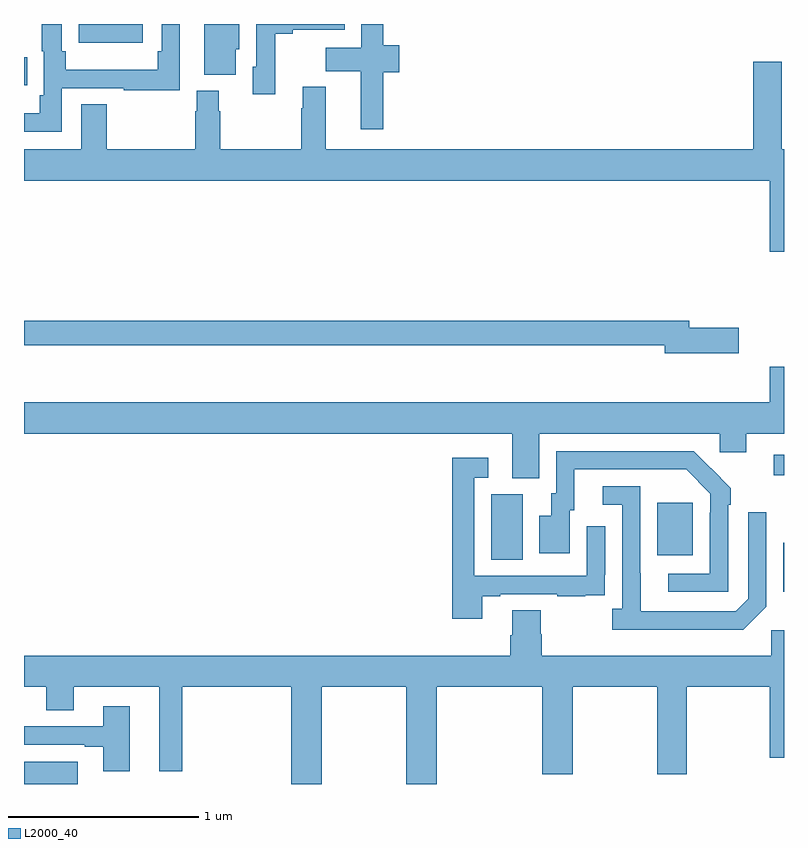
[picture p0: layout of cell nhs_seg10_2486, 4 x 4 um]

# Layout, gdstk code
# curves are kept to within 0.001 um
import gdstk
lib = gdstk.Library(unit=1e-6, precision=1e-09)
def R(c, l, rs):  # rectangles x0, y0, x1, y1
    for r in rs: c.add(gdstk.rectangle(r[:2], r[2:], *l))
def P(c, l, *ps):  # polygons
    for p in ps: c.add(gdstk.Polygon(p, *l))
L2000_40 = (2000, 40)

nhs_seg10_2486 = lib.new_cell('nhs_seg10_2486')
R(nhs_seg10_2486, L2000_40, [(248.996,1271.513,249,1271.77), (247.46,1271.68,247.624,1272.024), (248.333,1271.705,248.521,1271.98), (248.946,1272.126,249,1272.234), (245,1274.178,245.018,1274.326), (245.288,1274.402,245.626,1274.5)])
P(nhs_seg10_2486, L2000_40, [(246.115,1274.367),(246.133,1274.367),(246.133,1274.5),(245.949,1274.5),(245.949,1274.468),(245.948,1274.468),(245.948,1274.233),(246.115,1274.233)],
  [(245.199,1274.163),(245.524,1274.163),(245.524,1274.151),(245.82,1274.151),(245.82,1274.5),(245.724,1274.5),(245.724,1274.356),(245.704,1274.356),(245.704,1274.26),(245.219,1274.26),(245.219,1274.356),(245.199,1274.356),(245.199,1274.5),(245.093,1274.5),(245.093,1274.356),(245.103,1274.356),(245.103,1274.125),(245.083,1274.125),(245.083,1274.029),(245,1274.029),(245,1273.932),(245.199,1273.932)],
  [(246.89,1274.245),(246.976,1274.245),(246.976,1274.387),(246.89,1274.387),(246.89,1274.5),(246.774,1274.5),(246.774,1274.374),(246.589,1274.374),(246.589,1274.252),(246.773,1274.252),(246.773,1273.947),(246.89,1273.947)],
  [(246.323,1274.449),(246.415,1274.449),(246.415,1274.469),(246.689,1274.469),(246.689,1274.5),(246.222,1274.5),(246.222,1274.274),(246.203,1274.274),(246.203,1274.13),(246.323,1274.13)],
  [(249,1273.84),(248.989,1273.84),(248.989,1274.302),(248.837,1274.302),(248.837,1273.84),(246.589,1273.84),(246.589,1274.17),(246.467,1274.17),(246.467,1274.057),(246.46,1274.057),(246.46,1273.84),(246.033,1273.84),(246.033,1274.042),(246.025,1274.042),(246.025,1274.148),(245.909,1274.148),(245.909,1274.042),(245.902,1274.042),(245.902,1273.84),(245.436,1273.84),(245.436,1274.077),(245.3,1274.077),(245.3,1273.84),(245,1273.84),(245,1273.676),(248.924,1273.676),(248.924,1273.302),(249,1273.302)],
  [(248.761,1272.902),(248.5,1272.902),(248.5,1272.938),(245,1272.938),(245,1272.81),(248.372,1272.81),(248.372,1272.767),(248.761,1272.767)],
  [(247.711,1272.344),(248.661,1272.344),(248.661,1272.246),(248.8,1272.246),(248.8,1272.344),(249,1272.344),(249,1272.697),(248.924,1272.697),(248.924,1272.508),(245,1272.508),(245,1272.344),(247.571,1272.344),(247.571,1272.109),(247.711,1272.109)],
  [(248.706,1271.969),(248.721,1271.969),(248.721,1272.057),(248.524,1272.252),(247.8,1272.252),(247.8,1272.03),(247.775,1272.03),(247.775,1271.911),(247.712,1271.911),(247.712,1271.715),(247.873,1271.715),(247.873,1271.94),(247.897,1271.94),(247.897,1272.156),(248.485,1272.156),(248.613,1272.027),(248.613,1271.927),(248.61,1271.927),(248.61,1271.607),(248.391,1271.607),(248.391,1271.511),(248.706,1271.511)],
  [(247.411,1271.487),(247.507,1271.487),(247.507,1271.499),(247.807,1271.499),(247.807,1271.487),(247.955,1271.487),(247.955,1271.493),(248.057,1271.493),(248.057,1271.602),(248.058,1271.602),(248.058,1271.857),(247.962,1271.857),(247.962,1271.595),(247.371,1271.595),(247.371,1272.111),(247.444,1272.111),(247.444,1272.217),(247.255,1272.217),(247.255,1271.37),(247.411,1271.37)],
  [(248.907,1271.433),(248.907,1271.929),(248.811,1271.929),(248.811,1271.475),(248.745,1271.409),(248.245,1271.409),(248.244,1272.066),(248.046,1272.066),(248.046,1271.97),(248.148,1271.97),(248.148,1271.422),(248.097,1271.422),(248.097,1271.312),(248.786,1271.312)],
  [(246.567,1271.012),(247.012,1271.012),(247.012,1270.5),(247.172,1270.5),(247.172,1271.012),(247.727,1271.012),(247.727,1270.551),(247.887,1270.551),(247.887,1271.012),(248.332,1271.012),(248.332,1270.551),(248.487,1270.551),(248.487,1271.012),(248.924,1271.012),(248.924,1270.638),(249,1270.638),(249,1271.308),(248.934,1271.308),(248.934,1271.176),(247.724,1271.176),(247.724,1271.289),(247.719,1271.289),(247.719,1271.414),(247.571,1271.414),(247.571,1271.282),(247.559,1271.282),(247.559,1271.176),(245,1271.176),(245,1271.012),(245.116,1271.012),(245.116,1270.888),(245.263,1270.888),(245.263,1271.012),(245.711,1271.012),(245.711,1270.566),(245.833,1270.566),(245.833,1271.012),(246.407,1271.012),(246.407,1270.5),(246.567,1270.5)],
  [(245.557,1270.909),(245.417,1270.909),(245.417,1270.803),(245.027,1270.803),(245.027,1270.805),(245,1270.805),(245,1270.707),(245.321,1270.707),(245.321,1270.695),(245.417,1270.695),(245.417,1270.566),(245.557,1270.566)],
  [(245.284,1270.618),(245.043,1270.618),(245.043,1270.617),(245,1270.617),(245,1270.5),(245.284,1270.5)])

lib.write_gds('nhs_seg10_2486.gds')
